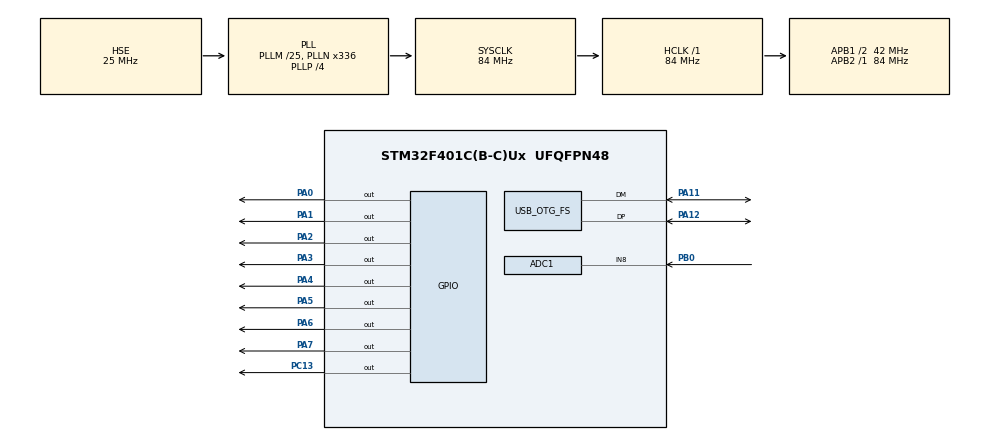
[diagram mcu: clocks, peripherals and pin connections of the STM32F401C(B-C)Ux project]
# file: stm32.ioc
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ADC1.Channel-1\#ChannelRegularConversion=ADC_CHANNEL_8
ADC1.ContinuousConvMode=ENABLE
ADC1.NbrOfConversionFlag=1
ADC1.Rank-1\#ChannelRegularConversion=1
ADC1.SamplingTime-1\#ChannelRegularConversion=ADC_SAMPLETIME_3CYCLES
ADC1.master=1
Mcu.Family=STM32F4
Mcu.Name=STM32F401C(B-C)Ux
Mcu.Package=UFQFPN48
NVIC.OTG_FS_IRQn=true\:0\:0\:false\:false\:true\:false\:true\:true
NVIC.PriorityGroup=NVIC_PRIORITYGROUP_4
PA0-WKUP.Signal=GPIO_Output
PA1.Signal=GPIO_Output
PA11.Mode=Device_Only
PA11.Signal=USB_OTG_FS_DM
PA12.Mode=Device_Only
PA12.Signal=USB_OTG_FS_DP
PA2.Signal=GPIO_Output
PA3.Signal=GPIO_Output
PA4.Signal=GPIO_Output
PA5.Signal=GPIO_Output
PA6.Signal=GPIO_Output
PA7.Signal=GPIO_Output
PB0.Signal=ADCx_IN8
PC13-ANTI_TAMP.Signal=GPIO_Output
PH0\ -\ OSC_IN.Mode=HSE-External-Oscillator
PH0\ -\ OSC_IN.Signal=RCC_OSC_IN
PH1\ -\ OSC_OUT.Mode=HSE-External-Oscillator
PH1\ -\ OSC_OUT.Signal=RCC_OSC_OUT
ProjectManager.HeapSize=0x200
ProjectManager.StackSize=0x400
ProjectManager.TargetToolchain=STM32CubeIDE
RCC.48MHZClocksFreq_Value=48000000
RCC.AHBFreq_Value=84000000
RCC.APB1CLKDivider=RCC_HCLK_DIV2
RCC.APB1Freq_Value=42000000
RCC.APB1TimFreq_Value=84000000
RCC.APB2Freq_Value=84000000
RCC.APB2TimFreq_Value=84000000
RCC.CortexFreq_Value=84000000
RCC.HCLKFreq_Value=84000000
RCC.HSE_VALUE=25000000
RCC.HSI_VALUE=16000000
RCC.LSE_VALUE=32768
RCC.PLLM=25
RCC.PLLN=336
RCC.PLLP=RCC_PLLP_DIV4
RCC.PLLQ=7
RCC.SYSCLKFreq_VALUE=84000000
RCC.SYSCLKSource=RCC_SYSCLKSOURCE_PLLCLK
RCC.VCOOutputFreq_Value=336000000
SH.ADCx_IN8.0=ADC1_IN8,IN8
USB_DEVICE.CLASS_NAME_FS=CDC
USB_DEVICE.PRODUCT_STRING_CDC_FS=Radiotelescope
USB_DEVICE.VirtualMode=Cdc
USB_DEVICE.VirtualModeFS=Cdc_FS
USB_OTG_FS.VirtualMode=Device_Only
VP_USB_DEVICE_VS_USB_DEVICE_CDC_FS.Mode=CDC_FS
board=custom

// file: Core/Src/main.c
/* USER CODE BEGIN Header */
/**
  ******************************************************************************
  * @file           : main.c
  * @brief          : Main program body
  ******************************************************************************
  * @attention
  *
  * Copyright (c) 2025 STMicroelectronics.
  * All rights reserved.
  *
  * This software is licensed under terms that can be found in the LICENSE file
  * in the root directory of this software component.
  * If no LICENSE file comes with this software, it is provided AS-IS.
  *
  ******************************************************************************
  */
/* USER CODE END Header */
#include "main.h"
#include "usb_device.h"

#include <stdbool.h>

#include "usbd_cdc_if.h"

/* USER CODE BEGIN Includes */

/*
 	 These function implementations depend on selected driver
*/

static void Motor_Step_1(bool reverse);
static void Motor_Step_2(bool reverse);

#define A4988
// #define DRV2003

#ifdef DRV2003
#include "drv2003_driver.h"
#endif

#ifdef A4988
#include "a4988_driver.h"
#endif

/* USER CODE END Includes */

ADC_HandleTypeDef hadc1;

/* USER CODE BEGIN PV */

uint32_t value_adc;

enum COMMAND {
	NONE = 0,
   M1_RIGHT = 97,
   M1_LEFT = 98,
   M2_RIGHT = 99,
   M2_LEFT = 100
};

static enum COMMAND next_command = NONE;

/* USER CODE END PV */

void SystemClock_Config(void);
static void MX_GPIO_Init(void);
static void MX_ADC1_Init(void);

/* USER CODE BEGIN 0 */

void Handle_Input_Command(uint8_t command) {
       next_command = command;
}

/* USER CODE END 0 */

int main(void)
{

  /* MCU Configuration--------------------------------------------------------*/

  /* Reset of all peripherals, Initializes the Flash interface and the Systick. */
  HAL_Init();

  /* Configure the system clock */
  SystemClock_Config();

  /* Initialize all configured peripherals */
  MX_GPIO_Init();
  MX_USB_DEVICE_Init();
  MX_ADC1_Init();

  /* Infinite loop */
  /* USER CODE BEGIN WHILE */
  while (1)
  {
	  /*
	  HAL_GPIO_TogglePin(GPIOC, GPIO_PIN_13);
	  HAL_Delay(1000);
	  */
       uint8_t m1_r_text[] = "motor 1 step right\n";
       uint8_t m1_l_text[] = "motor 1 step left\n";
       uint8_t m2_r_text[] = "motor 2 step right\n";
       uint8_t m2_l_text[] = "motor 2 step left\n";

       uint8_t unknown_command_text[] = "unknown command\n";

       switch(next_command) {
       case M1_RIGHT:
               Motor_Step_1(false);
               CDC_Transmit_FS(m1_r_text, sizeof(m1_r_text));
               HAL_GPIO_TogglePin(GPIOC, GPIO_PIN_13);
               break;

       case M1_LEFT:
               Motor_Step_1(true);
               CDC_Transmit_FS(m1_l_text, sizeof(m1_l_text));
               HAL_GPIO_TogglePin(GPIOC, GPIO_PIN_13);
               break;

       case M2_RIGHT:
               Motor_Step_2(false);
               CDC_Transmit_FS(m2_r_text, sizeof(m2_r_text));
               HAL_GPIO_TogglePin(GPIOC, GPIO_PIN_13);
               break;

       case M2_LEFT:
               Motor_Step_2(true);
               CDC_Transmit_FS(m2_l_text, sizeof(m2_l_text));
               HAL_GPIO_TogglePin(GPIOC, GPIO_PIN_13);
               break;

       default:
               break;
       }

       next_command = NONE;

    /* USER CODE END WHILE */

  }
}

void SystemClock_Config(void)
{
  RCC_OscInitTypeDef RCC_OscInitStruct = {0};
  RCC_ClkInitTypeDef RCC_ClkInitStruct = {0};

  /** Configure the main internal regulator output voltage
  */
  __HAL_RCC_PWR_CLK_ENABLE();
  __HAL_PWR_VOLTAGESCALING_CONFIG(PWR_REGULATOR_VOLTAGE_SCALE2);

  /** Initializes the RCC Oscillators according to the specified parameters
  * in the RCC_OscInitTypeDef structure.
  */
  RCC_OscInitStruct.OscillatorType = RCC_OSCILLATORTYPE_HSE;
  RCC_OscInitStruct.HSEState = RCC_HSE_ON;
  RCC_OscInitStruct.PLL.PLLState = RCC_PLL_ON;
  RCC_OscInitStruct.PLL.PLLSource = RCC_PLLSOURCE_HSE;
  RCC_OscInitStruct.PLL.PLLM = 25;
  RCC_OscInitStruct.PLL.PLLN = 336;
  RCC_OscInitStruct.PLL.PLLP = RCC_PLLP_DIV4;
  RCC_OscInitStruct.PLL.PLLQ = 7;
  if (HAL_RCC_OscConfig(&RCC_OscInitStruct) != HAL_OK)
  {
    Error_Handler();
  }

  /** Initializes the CPU, AHB and APB buses clocks
  */
  RCC_ClkInitStruct.ClockType = RCC_CLOCKTYPE_HCLK|RCC_CLOCKTYPE_SYSCLK
                              |RCC_CLOCKTYPE_PCLK1|RCC_CLOCKTYPE_PCLK2;
  RCC_ClkInitStruct.SYSCLKSource = RCC_SYSCLKSOURCE_PLLCLK;
  RCC_ClkInitStruct.AHBCLKDivider = RCC_SYSCLK_DIV1;
  RCC_ClkInitStruct.APB1CLKDivider = RCC_HCLK_DIV2;
  RCC_ClkInitStruct.APB2CLKDivider = RCC_HCLK_DIV1;

  if (HAL_RCC_ClockConfig(&RCC_ClkInitStruct, FLASH_LATENCY_2) != HAL_OK)
  {
    Error_Handler();
  }
}

static void MX_ADC1_Init(void)
{

  ADC_ChannelConfTypeDef sConfig = {0};

  /** Configure the global features of the ADC (Clock, Resolution, Data Alignment and number of conversion)
  */
  hadc1.Instance = ADC1;
  hadc1.Init.ClockPrescaler = ADC_CLOCK_SYNC_PCLK_DIV4;
  hadc1.Init.Resolution = ADC_RESOLUTION_12B;
  hadc1.Init.ScanConvMode = DISABLE;
  hadc1.Init.ContinuousConvMode = ENABLE;
  hadc1.Init.DiscontinuousConvMode = DISABLE;
  hadc1.Init.ExternalTrigConvEdge = ADC_EXTERNALTRIGCONVEDGE_NONE;
  hadc1.Init.ExternalTrigConv = ADC_SOFTWARE_START;
  hadc1.Init.DataAlign = ADC_DATAALIGN_RIGHT;
  hadc1.Init.NbrOfConversion = 1;
  hadc1.Init.DMAContinuousRequests = DISABLE;
  hadc1.Init.EOCSelection = ADC_EOC_SINGLE_CONV;
  if (HAL_ADC_Init(&hadc1) != HAL_OK)
  {
    Error_Handler();
  }

  /** Configure for the selected ADC regular channel its corresponding rank in the sequencer and its sample time.
  */
  sConfig.Channel = ADC_CHANNEL_8;
  sConfig.Rank = 1;
  sConfig.SamplingTime = ADC_SAMPLETIME_3CYCLES;
  if (HAL_ADC_ConfigChannel(&hadc1, &sConfig) != HAL_OK)
  {
    Error_Handler();
  }

}

static void MX_GPIO_Init(void)
{
  GPIO_InitTypeDef GPIO_InitStruct = {0};

  /* GPIO Ports Clock Enable */
  __HAL_RCC_GPIOC_CLK_ENABLE();
  __HAL_RCC_GPIOH_CLK_ENABLE();
  __HAL_RCC_GPIOA_CLK_ENABLE();
  __HAL_RCC_GPIOB_CLK_ENABLE();

  /*Configure GPIO pin Output Level */
  HAL_GPIO_WritePin(GPIOC, GPIO_PIN_13, GPIO_PIN_RESET);

  /*Configure GPIO pin Output Level */
  HAL_GPIO_WritePin(GPIOA, GPIO_PIN_0|GPIO_PIN_1|GPIO_PIN_2|GPIO_PIN_3
                          |GPIO_PIN_4|GPIO_PIN_5|GPIO_PIN_6|GPIO_PIN_7, GPIO_PIN_RESET);

  /*Configure GPIO pin : PC13 */
  GPIO_InitStruct.Pin = GPIO_PIN_13;
  GPIO_InitStruct.Mode = GPIO_MODE_OUTPUT_PP;
  GPIO_InitStruct.Pull = GPIO_NOPULL;
  GPIO_InitStruct.Speed = GPIO_SPEED_FREQ_LOW;
  HAL_GPIO_Init(GPIOC, &GPIO_InitStruct);

  /*Configure GPIO pins : PA0 PA1 PA2 PA3
                           PA4 PA5 PA6 PA7 */
  GPIO_InitStruct.Pin = GPIO_PIN_0|GPIO_PIN_1|GPIO_PIN_2|GPIO_PIN_3
                          |GPIO_PIN_4|GPIO_PIN_5|GPIO_PIN_6|GPIO_PIN_7;
  GPIO_InitStruct.Mode = GPIO_MODE_OUTPUT_PP;
  GPIO_InitStruct.Pull = GPIO_NOPULL;
  GPIO_InitStruct.Speed = GPIO_SPEED_FREQ_LOW;
  HAL_GPIO_Init(GPIOA, &GPIO_InitStruct);

}

void Error_Handler(void)
{
  __disable_irq();
  while (1)
  {
  }
}
